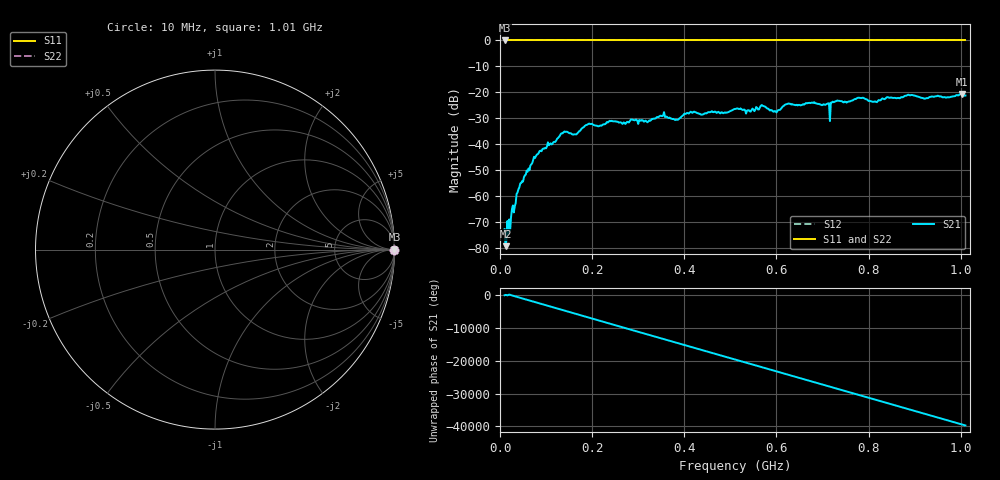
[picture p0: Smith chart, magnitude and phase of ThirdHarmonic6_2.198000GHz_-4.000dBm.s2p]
! 8/17/2025 2:11:50 AM
! C:\ANRITSUVNA\TEMP\TEMP.S2P
! CHANNEL.1
! TR.MEASUREMENT
! RAW.DATA
! RF.CORRECTION.OFF
! AVERAGING.OFF
! IF.BANDWIDTH: 5KHZ
! SWEEPTYPE:  FREQ.SWEEP(Linear)
! Reference Plane Port Info
! PORT:  PORT1  PORT2
! DISTANCE:  0  m  0  m
! TIME:  0  s  0  s
! PHASE.OFFSET:  0  deg.  0  deg.
! LOSS:  0  dB  0  dB
! REF.LOSS:  0  dB  0  dB
! REF.FREQ:  0  Hz  0  Hz
! Power Info
! POWER:  -20  dBm  -20  dBm
! EFF.POWER:  -20  dBm  -20  dBm
! SOURCE.ATTEN:  0  dB  0  dB
! TEST.ATTEN:  0  dB  0  dB
# GHZ S RI R 50.0
! FREQ.GHZ  S11RE  S11IM  S21RE  S21IM  S12RE  S12IM  S22RE  S22IM
!; PortSelection: Port_12
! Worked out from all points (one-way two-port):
!   501 points, 10 MHz to 1.01 GHz, reference 50 ohm
!   highest |S21| = -20.58 dB at 1.002 GHz (marker M1); lowest = -79.1 dB at 12 MHz (marker M2)
!   lowest |S11| = 0.0 dB at 10 MHz (marker M3)
!   |S11| at or under -10 dB: nowhere
!   |S22| runs from 0.0 to 0.0 dB; largest |S21 - S12| = 1.1
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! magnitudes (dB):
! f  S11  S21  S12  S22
! 10 MHz  0.0  -72.5  0.0  0.0
! 12 MHz  0.0  -79.1  0.0  0.0
! 16 MHz  0.0  -69.4  0.0  0.0
! 40 MHz  0.0  -57.2  0.0  0.0
! 76 MHz  0.0  -45.2  0.0  0.0
! 136 MHz  0.0  -35.7  0.0  0.0
! 162 MHz  0.0  -36.1  0.0  0.0
! 178 MHz  0.0  -33.8  0.0  0.0
! 344 MHz  0.0  -29.5  0.0  0.0
! 384 MHz  0.0  -30.5  0.0  0.0
! 410 MHz  0.0  -28.1  0.0  0.0
! 510 MHz  0.0  -26.3  0.0  0.0
! 538 MHz  0.0  -26.8  0.0  0.0
! 570 MHz  0.0  -25.1  0.0  0.0
! 596 MHz  0.0  -27.1  0.0  0.0
! 624 MHz  0.0  -24.4  0.0  0.0
! 678 MHz  0.0  -23.9  0.0  0.0
! 712 MHz  0.0  -24.2  0.0  0.0
! 732 MHz  0.0  -23.1  0.0  0.0
! 844 MHz  0.0  -22.0  0.0  0.0
! 1.002 GHz  0.0  -20.6  0.0  0.0
! 1.01 GHz  0.0  -21.2  0.0  0.0
